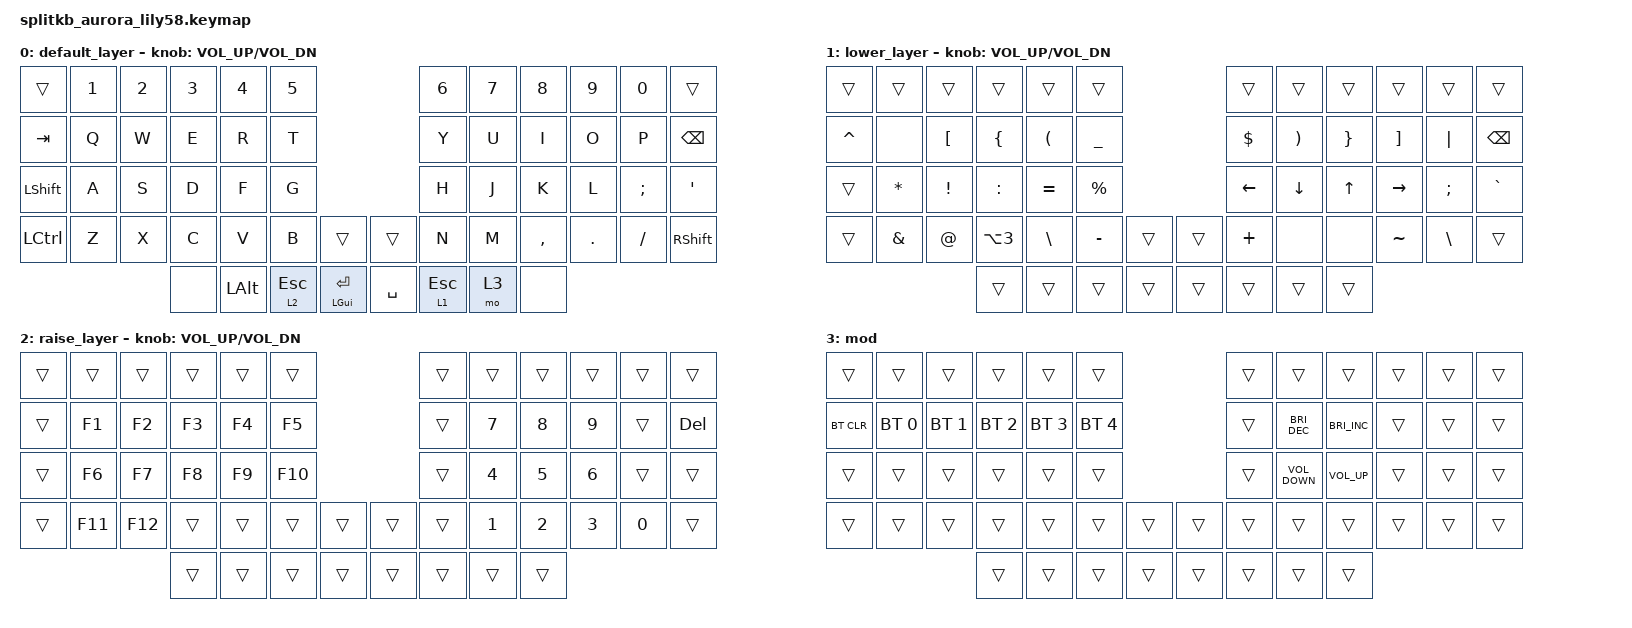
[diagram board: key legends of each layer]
/*
 * Copyright (c) 2022 The ZMK Contributors
 *
 * SPDX-License-Identifier: MIT
 */

#include <behaviors.dtsi>
#include <dt-bindings/zmk/bt.h>
#include <dt-bindings/zmk/keys.h>

&lt { flavor = "hold-preferred"; };

/ {
    keymap {
        compatible = "zmk,keymap";

        default_layer {
            bindings = <
&trans     &kp N1  &kp N2  &kp N3  &kp N4        &kp N5                                  &kp N6     &kp N7  &kp N8     &kp N9   &kp N0    &trans
&kp TAB    &kp Q   &kp W   &kp E   &kp R         &kp T                                   &kp Y      &kp U   &kp I      &kp O    &kp P     &kp BSPC
&kp LSHFT  &kp A   &kp S   &kp D   &kp F         &kp G                                   &kp H      &kp J   &kp K      &kp L    &kp SEMI  &kp APOSTROPHE
&kp LCTRL  &kp Z   &kp X   &kp C   &kp V         &kp B      &trans            &trans     &kp N      &kp M   &kp COMMA  &kp DOT  &kp FSLH  &kp RSHIFT
                           &none   &kp LEFT_ALT  &lt 2 ESC  &mt LGUI ENTER    &kp SPACE  &lt 1 ESC  &mo 3   &none
            >;

            sensor-bindings = <&inc_dec_kp C_VOL_UP C_VOL_DN>;
        };

        lower_layer {
            bindings = <
&trans     &trans        &trans           &trans            &trans         &trans                       &trans      &trans    &trans    &trans     &trans    &trans
&kp CARET  &none         &kp LBKT         &kp LBRC          &kp LPAR       &kp UNDER                    &kp DOLLAR  &kp RPAR  &kp RBRC  &kp RBKT   &kp PIPE  &kp BACKSPACE
&trans     &kp ASTERISK  &kp EXCLAMATION  &kp COLON         &kp EQUAL      &kp PRCNT                    &kp LEFT    &kp DOWN  &kp UP    &kp RIGHT  &kp SEMI  &kp GRAVE
&trans     &kp AMPS      &kp AT           &kp LA(NUMBER_3)  &kp BACKSLASH  &kp MINUS  &trans    &trans  &kp PLUS    &none     &none     &kp TILDE  &kp BSLH  &trans
                                          &trans            &trans         &trans     &trans    &trans  &trans      &trans    &trans
            >;

            sensor-bindings = <&inc_dec_kp C_VOL_UP C_VOL_DN>;
        };

        raise_layer {
            bindings = <
&trans  &trans   &trans   &trans  &trans  &trans                     &trans  &trans        &trans        &trans        &trans        &trans
&trans  &kp F1   &kp F2   &kp F3  &kp F4  &kp F5                     &trans  &kp NUMBER_7  &kp NUMBER_8  &kp NUMBER_9  &trans        &kp DEL
&trans  &kp F6   &kp F7   &kp F8  &kp F9  &kp F10                    &trans  &kp NUMBER_4  &kp N5        &kp NUMBER_6  &trans        &trans
&trans  &kp F11  &kp F12  &trans  &trans  &trans   &trans    &trans  &trans  &kp NUMBER_1  &kp NUMBER_2  &kp NUMBER_3  &kp NUMBER_0  &trans
                          &trans  &trans  &trans   &trans    &trans  &trans  &trans        &trans
            >;

            sensor-bindings = <&inc_dec_kp C_VOL_UP C_VOL_DN>;
        };

        mod {
            bindings = <
&trans      &trans        &trans        &trans        &trans        &trans                          &trans  &trans                &trans                &trans  &trans  &trans
&bt BT_CLR  &bt BT_SEL 0  &bt BT_SEL 1  &bt BT_SEL 2  &bt BT_SEL 3  &bt BT_SEL 4                    &trans  &kp C_BRIGHTNESS_DEC  &kp C_BRIGHTNESS_INC  &trans  &trans  &trans
&trans      &trans        &trans        &trans        &trans        &trans                          &trans  &kp C_VOLUME_DOWN     &kp C_VOLUME_UP       &trans  &trans  &trans
&trans      &trans        &trans        &trans        &trans        &trans        &trans    &trans  &trans  &trans                &trans                &trans  &trans  &trans
                                        &trans        &trans        &trans        &trans    &trans  &trans  &trans                &trans
            >;
        };
    };
};
